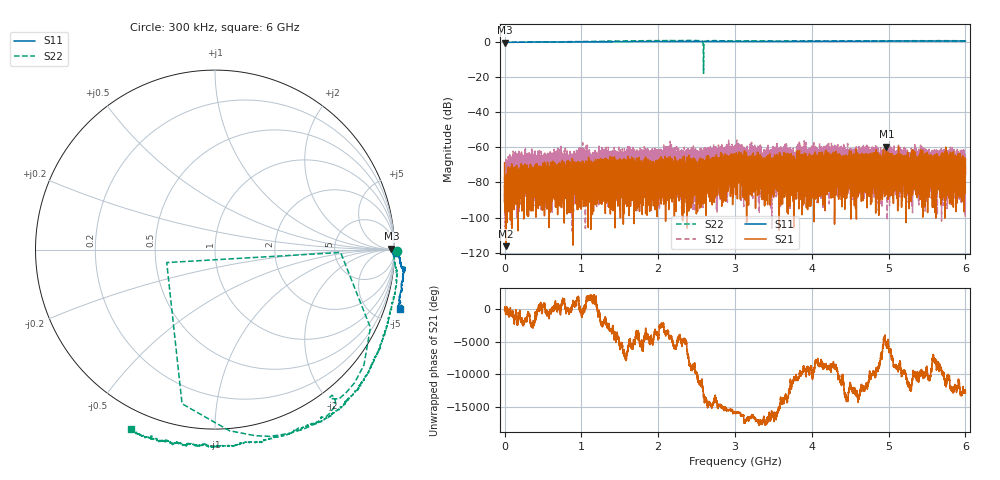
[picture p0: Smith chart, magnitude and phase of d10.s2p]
!Agilent Technologies,N5230C,SG49000117,A.08.50.07
!Agilent N5230C: A.08.50.07
!Date: Thursday, May 16, 2024 19:25:37
!Correction: S11(Full 2 Port(1,2))
!S21(Full 2 Port(1,2))
!S12(Full 2 Port(1,2))
!S22(Full 2 Port(1,2))
!S2P File: Measurements: S11, S21, S12, S22:
# Hz S  MA  R 50
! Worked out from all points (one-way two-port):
!   20001 points, 300 kHz to 6 GHz, reference 50 ohm
!   highest |S21| = -59.58 dB at 4.971 GHz (marker M1); lowest = -116.3 dB at 18.9 MHz (marker M2)
!   lowest |S11| = -0.2 dB at 600 kHz (marker M3), VSWR 115.17, Z = 5.22e+03 + j1.68e+03 ohm
!   |S11| at or under -10 dB: nowhere
!   |S22| runs from -17.7 to 1.1 dB; largest |S21 - S12| = 0.0017
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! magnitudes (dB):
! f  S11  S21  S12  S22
! 300 kHz  0.1  -68.7  -76.8  0.1
! 600 kHz  -0.2  -91.2  -81.7  -0.3
! 18.9 MHz  0.0  -116.3  -72.4  0.0
! 167.4 MHz  0.0  -74.2  -72.2  0.1
! 1 GHz  0.3  -75.8  -65.8  0.5
! 2 GHz  0.5  -74.5  -69.5  1.0
! 2.158 GHz  0.5  -80.3  -69.9  1.0
! 2.215 GHz  0.5  -89.3  -60.2  1.0
! 2.442 GHz  0.5  -71.6  -61.5  1.0
! 2.573 GHz  0.5  -71.3  -77.4  0.7
! 2.65 GHz  0.5  -76.4  -67.0  0.9
! 3 GHz  0.5  -66.8  -64.1  0.9
! 3.315 GHz  0.5  -67.4  -97.5  0.8
! 3.391 GHz  0.5  -77.0  -71.4  0.8
! 3.843 GHz  0.6  -67.9  -69.7  0.8
! 4 GHz  0.5  -68.0  -65.4  0.8
! 4.175 GHz  0.6  -66.5  -69.1  0.7
! 4.435 GHz  0.7  -69.4  -61.8  0.8
! 4.971 GHz  0.7  -59.6  -67.2  0.9
! 5 GHz  0.7  -70.3  -69.5  0.8
! 5.902 GHz  0.7  -76.6  -66.5  0.9
! 6 GHz  0.7  -66.7  -67.6  0.9
